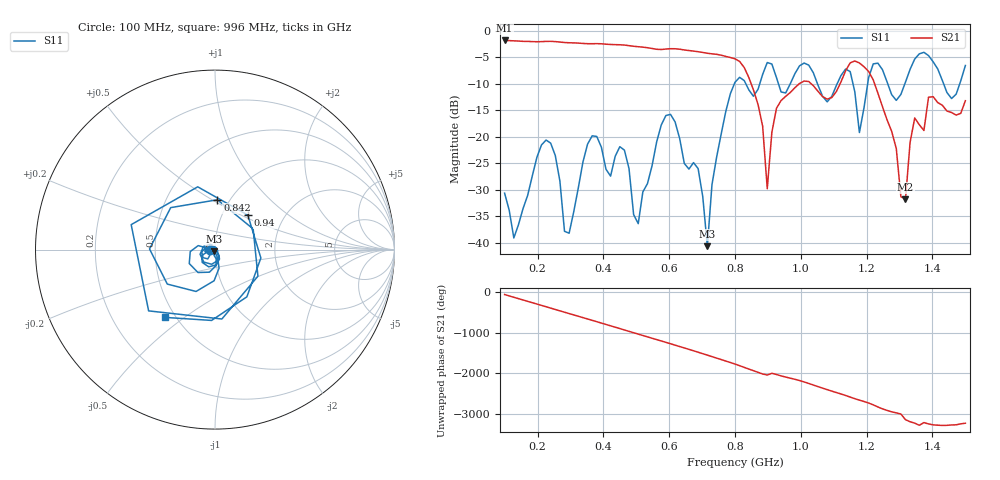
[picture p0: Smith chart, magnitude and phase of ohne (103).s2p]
! NanoVNA-App
! Date: 2025-09-25 14:21:36
! Start: 100MHz Stop: 1,5GHz Points: 101
! S-Parameter data: F S11 S21 S12 S22
# Hz S RI R 50
!  Frequency  S11_Real  S11_Imag  S21_Real  S21_Imag  S12_Real  S12_Imag  S22_Real  S22_Imag
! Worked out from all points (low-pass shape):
!   101 points, 100 MHz to 1.5 GHz, reference 50 ohm
!   highest |S21| = -1.79 dB at 100 MHz (marker M1); lowest = -31.8 dB at 1.318 GHz (marker M2)
!   |S21| within 3 dB of the highest: start of sweep to 771.1 MHz
!   lowest |S11| = -40.6 dB at 716 MHz (marker M3), VSWR 1.02, Z = 49.7 - j0.88 ohm
!   |S11| at or under -10 dB: start of sweep to 797.9 MHz; 833 MHz to 875.1 MHz (42.03 MHz wide, 4.92 % of centre); 1.051 GHz to 1.11 GHz (59.44 MHz wide, 5.5 % of centre) (the widest 3 of 7)
!   S12 and S22 are empty: the file has one direction only
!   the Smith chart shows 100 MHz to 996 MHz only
!   S11 on the Smith chart (normalised r, x): 100 MHz: 0.94, -0.01; 842 MHz: 0.88, +0.53; 940 MHz: 1.32, +0.55; 996 MHz: 0.44, -0.43
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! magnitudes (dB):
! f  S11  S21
! 100 MHz  -30.6  -1.8
! 128 MHz  -39.1  -1.9
! 226 MHz  -20.6  -2.0
! 296 MHz  -38.2  -2.2
! 338 MHz  -24.8  -2.4
! 464 MHz  -22.5  -2.7
! 506 MHz  -36.4  -3.0
! 576 MHz  -17.7  -3.5
! 688 MHz  -26.0  -3.9
! 716 MHz  -40.6  -4.2
! 800 MHz  -9.7  -5.3
! 842 MHz  -11.1  -8.8
! 898 MHz  -6.0  -29.8
! 940 MHz  -11.5  -13.1
! 996 MHz  -6.6  -9.9
! 1.038 GHz  -7.9  -10.3
! 1.178 GHz  -19.2  -6.0
! 1.22 GHz  -6.2  -9.3
! 1.276 GHz  -12.0  -19.0
! 1.318 GHz  -9.7  -31.8
! 1.346 GHz  -5.3  -16.4
! 1.5 GHz  -6.5  -13.2
